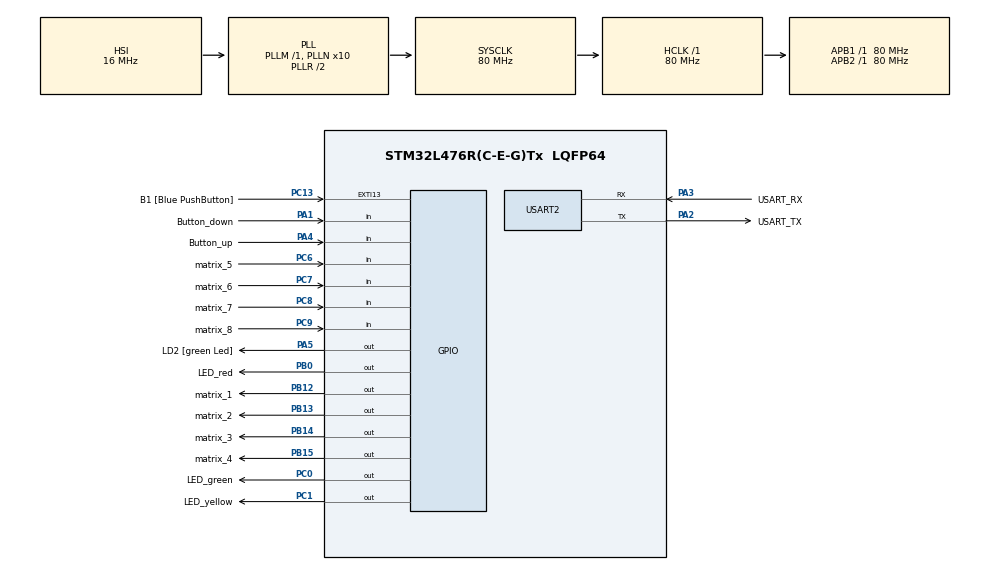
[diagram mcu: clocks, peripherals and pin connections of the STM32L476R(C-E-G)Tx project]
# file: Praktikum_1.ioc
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Mcu.Family=STM32L4
Mcu.Name=STM32L476R(C-E-G)Tx
Mcu.Package=LQFP64
NVIC.PriorityGroup=NVIC_PRIORITYGROUP_4
NVIC.TIM1_UP_TIM16_IRQn=true\:0\:0\:false\:false\:true\:true\:true
PA1.GPIO_Label=Button_down
PA1.Signal=GPIO_Input
PA13\ (JTMS-SWDIO).GPIO_Label=TMS
PA13\ (JTMS-SWDIO).Mode=Serial_Wire
PA13\ (JTMS-SWDIO).Signal=SYS_JTMS-SWDIO
PA14\ (JTCK-SWCLK).GPIO_Label=TCK
PA14\ (JTCK-SWCLK).Mode=Serial_Wire
PA14\ (JTCK-SWCLK).Signal=SYS_JTCK-SWCLK
PA2.GPIO_Label=USART_TX
PA2.GPIO_Mode=GPIO_MODE_AF_PP
PA2.GPIO_PuPd=GPIO_NOPULL
PA2.GPIO_Speed=GPIO_SPEED_FREQ_VERY_HIGH
PA2.Mode=Asynchronous
PA2.Signal=USART2_TX
PA3.GPIO_Label=USART_RX
PA3.GPIO_Mode=GPIO_MODE_AF_PP
PA3.GPIO_PuPd=GPIO_NOPULL
PA3.GPIO_Speed=GPIO_SPEED_FREQ_VERY_HIGH
PA3.Mode=Asynchronous
PA3.Signal=USART2_RX
PA4.GPIO_Label=Button_up
PA4.Signal=GPIO_Input
PA5.GPIO_Label=LD2 [green Led]
PA5.GPIO_ModeDefaultOutputPP=GPIO_MODE_OUTPUT_PP
PA5.GPIO_PuPd=GPIO_NOPULL
PA5.GPIO_Speed=GPIO_SPEED_FREQ_LOW
PA5.Signal=GPIO_Output
PB0.GPIO_Label=LED_red
PB0.Signal=GPIO_Output
PB12.GPIO_Label=matrix_1
PB12.Signal=GPIO_Output
PB13.GPIO_Label=matrix_2
PB13.Signal=GPIO_Output
PB14.GPIO_Label=matrix_3
PB14.Signal=GPIO_Output
PB15.GPIO_Label=matrix_4
PB15.Signal=GPIO_Output
PB3\ (JTDO-TRACESWO).GPIO_Label=SWO
PB3\ (JTDO-TRACESWO).Signal=SYS_JTDO-SWO
PC0.GPIO_Label=LED_green
PC0.Signal=GPIO_Output
PC1.GPIO_Label=LED_yellow
PC1.Signal=GPIO_Output
PC13.GPIO_Label=B1 [Blue PushButton]
PC13.GPIO_ModeDefaultEXTI=GPIO_MODE_IT_FALLING
PC13.GPIO_PuPd=GPIO_NOPULL
PC13.Signal=GPXTI13
PC14-OSC32_IN\ (PC14).Mode=LSE-External-Oscillator
PC14-OSC32_IN\ (PC14).Signal=RCC_OSC32_IN
PC15-OSC32_OUT\ (PC15).Mode=LSE-External-Oscillator
PC15-OSC32_OUT\ (PC15).Signal=RCC_OSC32_OUT
PC6.GPIO_Label=matrix_5
PC6.GPIO_PuPd=GPIO_PULLDOWN
PC6.Signal=GPIO_Input
PC7.GPIO_Label=matrix_6
PC7.GPIO_PuPd=GPIO_PULLDOWN
PC7.Signal=GPIO_Input
PC8.GPIO_Label=matrix_7
PC8.GPIO_PuPd=GPIO_PULLDOWN
PC8.Signal=GPIO_Input
PC9.GPIO_Label=matrix_8
PC9.GPIO_PuPd=GPIO_PULLDOWN
PC9.Signal=GPIO_Input
PH0-OSC_IN\ (PH0).Signal=RCC_OSC_IN
PH1-OSC_OUT\ (PH1).Signal=RCC_OSC_OUT
ProjectManager.HeapSize=0x200
ProjectManager.StackSize=0x400
ProjectManager.TargetToolchain=STM32CubeIDE
RCC.ADCFreq_Value=64000000
RCC.AHBFreq_Value=80000000
RCC.APB1Freq_Value=80000000
RCC.APB1TimFreq_Value=80000000
RCC.APB2Freq_Value=80000000
RCC.APB2TimFreq_Value=80000000
RCC.CortexFreq_Value=80000000
RCC.HCLKFreq_Value=80000000
RCC.HSE_VALUE=8000000
RCC.HSI_VALUE=16000000
RCC.MSI_VALUE=4000000
RCC.PLLN=10
RCC.PLLSourceVirtual=RCC_PLLSOURCE_HSI
RCC.PREFETCH_ENABLE=1
RCC.SYSCLKFreq_VALUE=80000000
RCC.SYSCLKSource=RCC_SYSCLKSOURCE_PLLCLK
RCC.USBFreq_Value=64000000
RCC.VCOOutputFreq_Value=160000000
TIM16.Period=100-1
TIM16.Prescaler=8000-1
USART2.VirtualMode-Asynchronous=VM_ASYNC
VP_TIM16_VS_ClockSourceINT.Mode=Enable_Timer
board=NUCLEO-L476RG

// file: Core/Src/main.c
/* USER CODE BEGIN Header */
/**
  ******************************************************************************
  * @file           : main.c
  * @brief          : Main program body
  ******************************************************************************
  * @attention
  *
  * <h2><center>&copy; Copyright (c) 2021 STMicroelectronics.
  * All rights reserved.</center></h2>
  *
  * This software component is licensed by ST under BSD 3-Clause license,
  * the "License"; You may not use this file except in compliance with the
  * License. You may obtain a copy of the License at:
  *                        opensource.org/licenses/BSD-3-Clause
  *
  ******************************************************************************
  */
/* USER CODE END Header */
#include "main.h"

TIM_HandleTypeDef htim16;

UART_HandleTypeDef huart2;

void SystemClock_Config(void);
static void MX_GPIO_Init(void);
static void MX_USART2_UART_Init(void);
static void MX_TIM16_Init(void);

int main(void)
{

  /* MCU Configuration--------------------------------------------------------*/

  /* Reset of all peripherals, Initializes the Flash interface and the Systick. */
  HAL_Init();

  /* Configure the system clock */
  SystemClock_Config();

  /* Initialize all configured peripherals */
  MX_GPIO_Init();
  MX_USART2_UART_Init();
  MX_TIM16_Init();
  /* USER CODE BEGIN 2 */
  HAL_TIM_Base_Start_IT(&htim16);

  /* USER CODE END 2 */

  /* Infinite loop */
  /* USER CODE BEGIN WHILE */

  while (1)
  {
	// turn on LEDs
	if(counter >= 5)HAL_GPIO_WritePin(LED_red_GPIO_Port, LED_red_Pin, GPIO_PIN_SET);
	else HAL_GPIO_WritePin(LED_red_GPIO_Port, LED_red_Pin, GPIO_PIN_RESET);

	if(counter >= 10)HAL_GPIO_WritePin(LED_yellow_GPIO_Port, LED_yellow_Pin, GPIO_PIN_SET);
	else HAL_GPIO_WritePin(LED_yellow_GPIO_Port, LED_yellow_Pin, GPIO_PIN_RESET);

	if(counter >= 25)HAL_GPIO_WritePin(LED_green_GPIO_Port, LED_green_Pin, GPIO_PIN_SET);
	else HAL_GPIO_WritePin(LED_green_GPIO_Port, LED_green_Pin, GPIO_PIN_RESET);

    /* USER CODE END WHILE */

  }
}

void SystemClock_Config(void)
{
  RCC_OscInitTypeDef RCC_OscInitStruct = {0};
  RCC_ClkInitTypeDef RCC_ClkInitStruct = {0};

  /** Configure the main internal regulator output voltage
  */
  if (HAL_PWREx_ControlVoltageScaling(PWR_REGULATOR_VOLTAGE_SCALE1) != HAL_OK)
  {
    Error_Handler();
  }
  /** Initializes the RCC Oscillators according to the specified parameters
  * in the RCC_OscInitTypeDef structure.
  */
  RCC_OscInitStruct.OscillatorType = RCC_OSCILLATORTYPE_HSI;
  RCC_OscInitStruct.HSIState = RCC_HSI_ON;
  RCC_OscInitStruct.HSICalibrationValue = RCC_HSICALIBRATION_DEFAULT;
  RCC_OscInitStruct.PLL.PLLState = RCC_PLL_ON;
  RCC_OscInitStruct.PLL.PLLSource = RCC_PLLSOURCE_HSI;
  RCC_OscInitStruct.PLL.PLLM = 1;
  RCC_OscInitStruct.PLL.PLLN = 10;
  RCC_OscInitStruct.PLL.PLLP = RCC_PLLP_DIV7;
  RCC_OscInitStruct.PLL.PLLQ = RCC_PLLQ_DIV2;
  RCC_OscInitStruct.PLL.PLLR = RCC_PLLR_DIV2;
  if (HAL_RCC_OscConfig(&RCC_OscInitStruct) != HAL_OK)
  {
    Error_Handler();
  }
  /** Initializes the CPU, AHB and APB buses clocks
  */
  RCC_ClkInitStruct.ClockType = RCC_CLOCKTYPE_HCLK|RCC_CLOCKTYPE_SYSCLK
                              |RCC_CLOCKTYPE_PCLK1|RCC_CLOCKTYPE_PCLK2;
  RCC_ClkInitStruct.SYSCLKSource = RCC_SYSCLKSOURCE_PLLCLK;
  RCC_ClkInitStruct.AHBCLKDivider = RCC_SYSCLK_DIV1;
  RCC_ClkInitStruct.APB1CLKDivider = RCC_HCLK_DIV1;
  RCC_ClkInitStruct.APB2CLKDivider = RCC_HCLK_DIV1;

  if (HAL_RCC_ClockConfig(&RCC_ClkInitStruct, FLASH_LATENCY_4) != HAL_OK)
  {
    Error_Handler();
  }
}

static void MX_TIM16_Init(void)
{

  /* USER CODE BEGIN TIM16_Init 1 */

//80MHz / 8000 = 10 kHz -> 1 tick every 0.0001 sec
//0.0001 sec * 100 = 0.01 sec -> timer interrupt every 10 ms

  /* USER CODE END TIM16_Init 1 */
  htim16.Instance = TIM16;
  htim16.Init.Prescaler = 8000-1;
  htim16.Init.CounterMode = TIM_COUNTERMODE_UP;
  htim16.Init.Period = 100-1;
  htim16.Init.ClockDivision = TIM_CLOCKDIVISION_DIV1;
  htim16.Init.RepetitionCounter = 0;
  htim16.Init.AutoReloadPreload = TIM_AUTORELOAD_PRELOAD_DISABLE;
  if (HAL_TIM_Base_Init(&htim16) != HAL_OK)
  {
    Error_Handler();
  }

}

static void MX_USART2_UART_Init(void)
{

  huart2.Instance = USART2;
  huart2.Init.BaudRate = 115200;
  huart2.Init.WordLength = UART_WORDLENGTH_8B;
  huart2.Init.StopBits = UART_STOPBITS_1;
  huart2.Init.Parity = UART_PARITY_NONE;
  huart2.Init.Mode = UART_MODE_TX_RX;
  huart2.Init.HwFlowCtl = UART_HWCONTROL_NONE;
  huart2.Init.OverSampling = UART_OVERSAMPLING_16;
  huart2.Init.OneBitSampling = UART_ONE_BIT_SAMPLE_DISABLE;
  huart2.AdvancedInit.AdvFeatureInit = UART_ADVFEATURE_NO_INIT;
  if (HAL_UART_Init(&huart2) != HAL_OK)
  {
    Error_Handler();
  }

}

static void MX_GPIO_Init(void)
{
  GPIO_InitTypeDef GPIO_InitStruct = {0};

  /* GPIO Ports Clock Enable */
  __HAL_RCC_GPIOC_CLK_ENABLE();
  __HAL_RCC_GPIOH_CLK_ENABLE();
  __HAL_RCC_GPIOA_CLK_ENABLE();
  __HAL_RCC_GPIOB_CLK_ENABLE();

  /*Configure GPIO pin Output Level */
  HAL_GPIO_WritePin(GPIOC, LED_green_Pin|LED_yellow_Pin, GPIO_PIN_RESET);

  /*Configure GPIO pin Output Level */
  HAL_GPIO_WritePin(LD2_GPIO_Port, LD2_Pin, GPIO_PIN_RESET);

  /*Configure GPIO pin Output Level */
  HAL_GPIO_WritePin(GPIOB, LED_red_Pin|matrix_1_Pin|matrix_2_Pin|matrix_3_Pin
                          |matrix_4_Pin, GPIO_PIN_RESET);

  /*Configure GPIO pin : B1_Pin */
  GPIO_InitStruct.Pin = B1_Pin;
  GPIO_InitStruct.Mode = GPIO_MODE_IT_FALLING;
  GPIO_InitStruct.Pull = GPIO_NOPULL;
  HAL_GPIO_Init(B1_GPIO_Port, &GPIO_InitStruct);

  /*Configure GPIO pins : LED_green_Pin LED_yellow_Pin */
  GPIO_InitStruct.Pin = LED_green_Pin|LED_yellow_Pin;
  GPIO_InitStruct.Mode = GPIO_MODE_OUTPUT_PP;
  GPIO_InitStruct.Pull = GPIO_NOPULL;
  GPIO_InitStruct.Speed = GPIO_SPEED_FREQ_LOW;
  HAL_GPIO_Init(GPIOC, &GPIO_InitStruct);

  /*Configure GPIO pins : Button_down_Pin Button_up_Pin */
  GPIO_InitStruct.Pin = Button_down_Pin|Button_up_Pin;
  GPIO_InitStruct.Mode = GPIO_MODE_INPUT;
  GPIO_InitStruct.Pull = GPIO_NOPULL;
  HAL_GPIO_Init(GPIOA, &GPIO_InitStruct);

  /*Configure GPIO pin : LD2_Pin */
  GPIO_InitStruct.Pin = LD2_Pin;
  GPIO_InitStruct.Mode = GPIO_MODE_OUTPUT_PP;
  GPIO_InitStruct.Pull = GPIO_NOPULL;
  GPIO_InitStruct.Speed = GPIO_SPEED_FREQ_LOW;
  HAL_GPIO_Init(LD2_GPIO_Port, &GPIO_InitStruct);

  /*Configure GPIO pins : LED_red_Pin matrix_1_Pin matrix_2_Pin matrix_3_Pin
                           matrix_4_Pin */
  GPIO_InitStruct.Pin = LED_red_Pin|matrix_1_Pin|matrix_2_Pin|matrix_3_Pin
                          |matrix_4_Pin;
  GPIO_InitStruct.Mode = GPIO_MODE_OUTPUT_PP;
  GPIO_InitStruct.Pull = GPIO_NOPULL;
  GPIO_InitStruct.Speed = GPIO_SPEED_FREQ_LOW;
  HAL_GPIO_Init(GPIOB, &GPIO_InitStruct);

  /*Configure GPIO pins : matrix_5_Pin matrix_6_Pin matrix_7_Pin matrix_8_Pin */
  GPIO_InitStruct.Pin = matrix_5_Pin|matrix_6_Pin|matrix_7_Pin|matrix_8_Pin;
  GPIO_InitStruct.Mode = GPIO_MODE_INPUT;
  GPIO_InitStruct.Pull = GPIO_PULLDOWN;
  HAL_GPIO_Init(GPIOC, &GPIO_InitStruct);

}

/* USER CODE BEGIN 4 */
/* USER CODE BEGIN 4 */

uint8_t button_state; //states for 8 buttons. bit = 1 -> button is pressed
uint8_t counter0 =0xFF, counter1  =0xFF;//8 * two bit counter
uint8_t button_pin; //pins for 8 buttons

//Callback: timer has reset
void HAL_TIM_PeriodElapsedCallback(TIM_HandleTypeDef *htim){
	if(htim == &htim16){
		uint8_t button_changed;

		if(HAL_GPIO_ReadPin(Button_up_GPIO_Port, Button_up_Pin)) button_pin |= (1<<button_up);
		else button_pin &= ~(1<<button_up);
		if(HAL_GPIO_ReadPin(Button_down_GPIO_Port, Button_down_Pin)) button_pin |= (1<<button_down);
		else button_pin &= ~(1<<button_down);

		button_changed = button_state ^ button_pin; //bit = 1 -> button changed

		// count to 4 or reset if button_changed != 1	Round:	1	|	2	|	3	|	4	|
		counter0 = ~(counter0 & button_changed);		//0	|	1	|	0	|	1	|
		counter1 = counter0 ^ (counter1 & button_changed);	//1	|	0	|	0	|	1	|

		button_changed &= counter0 & counter1; //change button state only if timer rolls over!
		button_state ^= button_changed; //toggle state

		//count how long button up is pressed in 10 ms
		if(button_state & (1<<button_up)) counter_up++;

		//count how long button down is pressed in 10 ms
		if(button_state & (1<<button_down)) counter_down++;

		if(~button_state & button_changed & (1<<button_up)){// stopped pressing button up
			counter += (counter_up >= 100) ? 10 : 1; //increase counter with 10 if button is pressed longer than 1 sec, else increase 1
			counter_up = 0; //reset counter
		}

		if(~button_state & button_changed & (1<<button_down)){// stopped pressing button down
			counter -= (counter_down >= 100) ? 10 : 1; //decrease counter with 10 if button is pressed longer than 1 sec, else decrease 1
			counter_down = 0; //reset counter
		}

	}

}

/* USER CODE END 4 */

void Error_Handler(void)
{
  __disable_irq();
  while (1)
  {
  }
}

/************************ (C) COPYRIGHT STMicroelectronics *****END OF FILE****/
